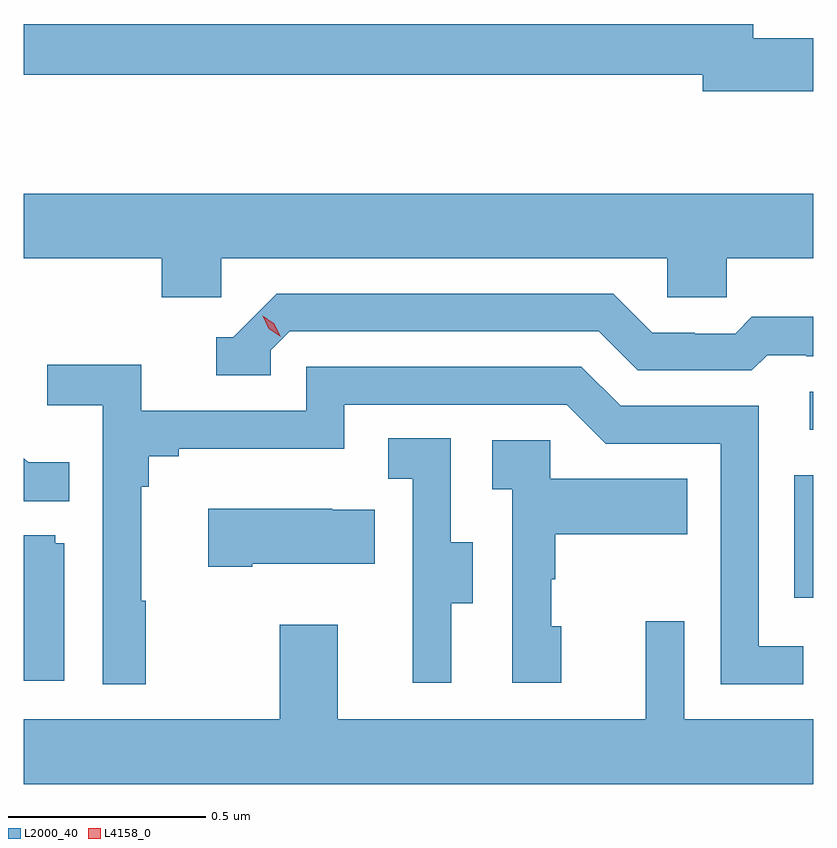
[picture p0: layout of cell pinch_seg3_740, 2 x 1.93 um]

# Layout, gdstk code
import gdstk
lib = gdstk.Library(unit=1e-6, precision=1e-09)
def R(c, l, rs):  # rectangles x0, y0, x1, y1
    for r in rs: c.add(gdstk.rectangle(r[:2], r[2:], *l))
def P(c, l, *ps):  # polygons
    for p in ps: c.add(gdstk.Polygon(p, *l))
L2000_40 = (2000, 40)
L4158_0 = (4158, 0)

pinch_seg3_740 = lib.new_cell('pinch_seg3_740')
R(pinch_seg3_740, L2000_40, [(859.104,732.024,859.152,732.334), (859.143,732.45,859.152,732.546)])
P(pinch_seg3_740, L2000_40, [(859.152,733.442),(859,733.442),(859,733.478),(857.152,733.478),(857.152,733.35),(858.872,733.35),(858.872,733.307),(859.152,733.307)],
  [(857.652,732.884),(858.783,732.884),(858.783,732.786),(858.933,732.786),(858.933,732.884),(859.152,732.884),(859.152,733.048),(857.152,733.048),(857.152,732.884),(857.501,732.884),(857.501,732.786),(857.652,732.786)],
  [(857.778,732.651),(857.826,732.699),(858.609,732.699),(858.708,732.6),(858.997,732.6),(859.036,732.639),(859.135,732.639),(859.135,732.636),(859.152,732.636),(859.152,732.736),(858.997,732.736),(858.955,732.693),(858.852,732.693),(858.852,732.696),(858.745,732.696),(858.646,732.795),(857.793,732.795),(857.682,732.684),(857.639,732.684),(857.639,732.588),(857.778,732.588)],
  [(857.461,732.017),(857.449,732.017),(857.449,732.305),(857.468,732.305),(857.468,732.382),(857.545,732.382),(857.545,732.401),(857.964,732.401),(857.964,732.513),(858.528,732.513),(858.627,732.414),(858.918,732.414),(858.918,731.805),(859.127,731.805),(859.127,731.901),(859.014,731.901),(859.014,732.51),(858.664,732.51),(858.565,732.609),(857.868,732.609),(857.868,732.498),(857.45,732.498),(857.45,732.614),(857.211,732.614),(857.211,732.512),(857.352,732.512),(857.352,731.805),(857.461,731.805)],
  [(858.235,732.01),(858.289,732.01),(858.289,732.165),(858.234,732.165),(858.234,732.428),(858.075,732.428),(858.075,732.325),(858.138,732.325),(858.138,732.021),(858.137,732.021),(858.137,731.808),(858.235,731.808)],
  [(858.514,731.952),(858.489,731.952),(858.489,732.071),(858.499,732.071),(858.499,732.185),(858.833,732.185),(858.833,732.325),(858.486,732.325),(858.486,732.423),(858.339,732.423),(858.339,732.299),(858.39,732.299),(858.39,731.808),(858.514,731.808)],
  [(857.267,732.367),(857.163,732.367),(857.152,732.378),(857.152,732.268),(857.267,732.268)],
  [(857.731,732.11),(858.041,732.11),(858.041,732.247),(857.933,732.247),(857.933,732.25),(857.619,732.25),(857.619,732.103),(857.731,732.103)],
  [(857.254,732.162),(857.232,732.162),(857.232,732.183),(857.152,732.183),(857.152,731.814),(857.254,731.814)],
  [(859.152,731.716),(858.825,731.716),(858.825,731.965),(858.728,731.965),(858.728,731.716),(857.947,731.716),(857.947,731.956),(857.8,731.956),(857.8,731.716),(857.152,731.716),(857.152,731.552),(859.152,731.552)])
P(pinch_seg3_740, L4158_0, [(857.803,732.686),(857.772,732.706),(857.757,732.739),(857.757,732.739),(857.757,732.739),(857.787,732.719),(857.803,732.686),(857.803,732.686)])

lib.write_gds('pinch_seg3_740.gds')
